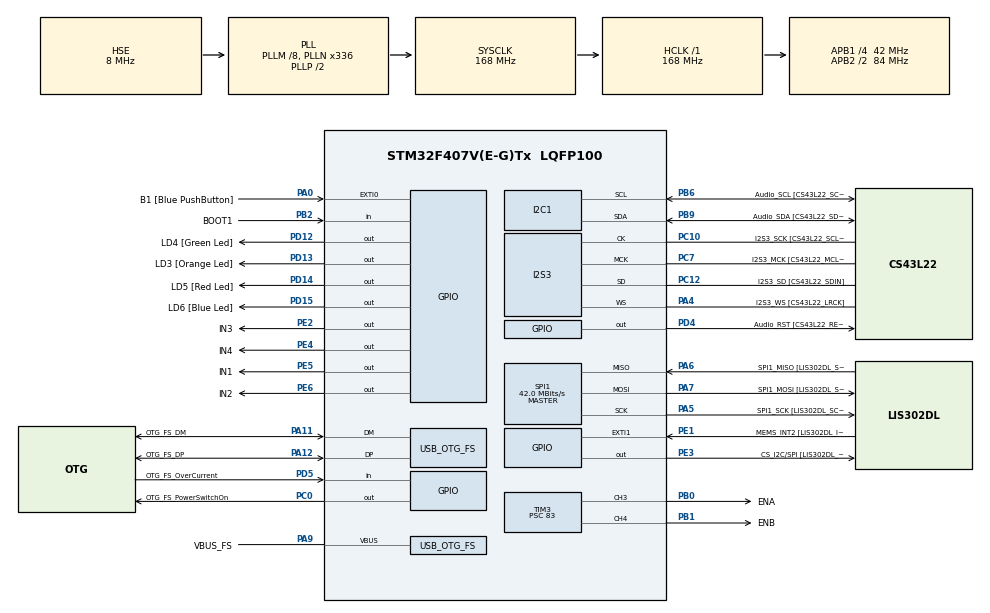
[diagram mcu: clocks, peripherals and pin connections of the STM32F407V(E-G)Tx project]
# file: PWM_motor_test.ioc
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I2S3.AudioFreq-Half_Duplex_Master=I2S_AUDIOFREQ_96K
I2S3.ErrorAudioFreq=-2.34 %
I2S3.ErrorAudioFreq-Half_Duplex_Master=0.8 %
I2S3.FullDuplexMode=I2S_FULLDUPLEXMODE_DISABLE
I2S3.Instance=SPI$Index
I2S3.RealAudioFreq=93.75 KHz
I2S3.RealAudioFreq-Half_Duplex_Master=96.774 KHz
I2S3.VirtualMode=I2S_MODE_MASTER
Mcu.Family=STM32F4
Mcu.Name=STM32F407V(E-G)Tx
Mcu.Package=LQFP100
NVIC.OTG_FS_IRQn=true\:0\:0\:false\:false\:true\:true\:true\:true
NVIC.PriorityGroup=NVIC_PRIORITYGROUP_0
PA0-WKUP.GPIO_Label=B1 [Blue PushButton]
PA0-WKUP.GPIO_ModeDefaultEXTI=GPIO_MODE_EVT_RISING
PA0-WKUP.GPIO_PuPd=GPIO_NOPULL
PA0-WKUP.Signal=GPXTI0
PA10.GPIO_Label=OTG_FS_ID
PA10.GPIO_Mode=GPIO_MODE_AF_PP
PA10.GPIO_PuPd=GPIO_NOPULL
PA10.GPIO_Speed=GPIO_SPEED_FREQ_LOW
PA10.Signal=USB_OTG_FS_ID
PA11.GPIO_Label=OTG_FS_DM
PA11.GPIO_Mode=GPIO_MODE_AF_PP
PA11.GPIO_PuPd=GPIO_NOPULL
PA11.GPIO_Speed=GPIO_SPEED_FREQ_LOW
PA11.Mode=Host_Only
PA11.Signal=USB_OTG_FS_DM
PA12.GPIO_Label=OTG_FS_DP
PA12.GPIO_Mode=GPIO_MODE_AF_PP
PA12.GPIO_PuPd=GPIO_NOPULL
PA12.GPIO_Speed=GPIO_SPEED_FREQ_LOW
PA12.Mode=Host_Only
PA12.Signal=USB_OTG_FS_DP
PA13.GPIO_Label=SWDIO
PA13.Mode=Serial_Wire
PA13.Signal=SYS_JTMS-SWDIO
PA14.GPIO_Label=SWCLK
PA14.Mode=Serial_Wire
PA14.Signal=SYS_JTCK-SWCLK
PA4.GPIO_Label=I2S3_WS [CS43L22_LRCK]
PA4.GPIO_Mode=GPIO_MODE_AF_PP
PA4.GPIO_PuPd=GPIO_NOPULL
PA4.GPIO_Speed=GPIO_SPEED_FREQ_LOW
PA4.Mode=Half_Duplex_Master
PA4.Signal=I2S3_WS
PA5.GPIO_Label=SPI1_SCK [LIS302DL_SCL/SPC]
PA5.GPIO_Mode=GPIO_MODE_AF_PP
PA5.GPIO_PuPd=GPIO_NOPULL
PA5.GPIO_Speed=GPIO_SPEED_FREQ_LOW
PA5.Mode=Full_Duplex_Master
PA5.Signal=SPI1_SCK
PA6.GPIO_Label=SPI1_MISO [LIS302DL_SDO]
PA6.GPIO_Mode=GPIO_MODE_AF_PP
PA6.GPIO_PuPd=GPIO_NOPULL
PA6.GPIO_Speed=GPIO_SPEED_FREQ_LOW
PA6.Mode=Full_Duplex_Master
PA6.Signal=SPI1_MISO
PA7.GPIO_Label=SPI1_MOSI [LIS302DL_SDA/SDI/SDO]
PA7.GPIO_Mode=GPIO_MODE_AF_PP
PA7.GPIO_PuPd=GPIO_NOPULL
PA7.GPIO_Speed=GPIO_SPEED_FREQ_LOW
PA7.Mode=Full_Duplex_Master
PA7.Signal=SPI1_MOSI
PA9.GPIO_Label=VBUS_FS
PA9.GPIO_Mode=GPIO_MODE_INPUT
PA9.GPIO_PuPd=GPIO_NOPULL
PA9.Mode=Activate_VBUS
PA9.Signal=USB_OTG_FS_VBUS
PB0.GPIO_Label=ENA
PB0.Signal=S_TIM3_CH3
PB1.GPIO_Label=ENB
PB1.Signal=S_TIM3_CH4
PB10.GPIO_Label=CLK_IN [MP45DT02_CLK]
PB10.GPIO_Mode=GPIO_MODE_AF_PP
PB10.GPIO_PuPd=GPIO_NOPULL
PB10.GPIO_Speed=GPIO_SPEED_FREQ_LOW
PB10.Signal=I2S2_CK
PB2.GPIO_Label=BOOT1
PB2.GPIO_Mode=GPIO_MODE_INPUT
PB2.GPIO_PuPd=GPIO_NOPULL
PB2.Signal=GPIO_Input
PB3.GPIO_Label=SWO
PB3.Signal=SYS_JTDO-SWO
PB6.GPIO_Label=Audio_SCL [CS43L22_SCL]
PB6.GPIO_Mode=GPIO_MODE_AF_OD
PB6.GPIO_Pu=GPIO_PULLUP
PB6.GPIO_PuPd=GPIO_NOPULL
PB6.GPIO_Speed=GPIO_SPEED_FREQ_LOW
PB6.Mode=I2C
PB6.Signal=I2C1_SCL
PB9.GPIO_Label=Audio_SDA [CS43L22_SDA]
PB9.GPIO_Mode=GPIO_MODE_AF_OD
PB9.GPIO_Pu=GPIO_PULLUP
PB9.GPIO_PuPd=GPIO_NOPULL
PB9.GPIO_Speed=GPIO_SPEED_FREQ_LOW
PB9.Mode=I2C
PB9.Signal=I2C1_SDA
PC0.GPIO_Label=OTG_FS_PowerSwitchOn
PC0.GPIO_PuPd=GPIO_NOPULL
PC0.GPIO_Speed=GPIO_SPEED_FREQ_LOW
PC0.PinState=GPIO_PIN_SET
PC0.Signal=GPIO_Output
PC10.GPIO_Label=I2S3_SCK [CS43L22_SCLK]
PC10.GPIO_Mode=GPIO_MODE_AF_PP
PC10.GPIO_PuPd=GPIO_NOPULL
PC10.GPIO_Speed=GPIO_SPEED_FREQ_LOW
PC10.Mode=Half_Duplex_Master
PC10.Signal=I2S3_CK
PC12.GPIO_Label=I2S3_SD [CS43L22_SDIN]
PC12.GPIO_Mode=GPIO_MODE_AF_PP
PC12.GPIO_PuPd=GPIO_NOPULL
PC12.GPIO_Speed=GPIO_SPEED_FREQ_LOW
PC12.Mode=Half_Duplex_Master
PC12.Signal=I2S3_SD
PC14-OSC32_IN.GPIO_Label=PC14-OSC32_IN
PC14-OSC32_IN.Mode=LSE-External-Oscillator
PC14-OSC32_IN.Signal=RCC_OSC32_IN
PC15-OSC32_OUT.GPIO_Label=PC15-OSC32_OUT
PC15-OSC32_OUT.Mode=LSE-External-Oscillator
PC15-OSC32_OUT.Signal=RCC_OSC32_OUT
PC3.GPIO_Label=PDM_OUT [MP45DT02_DOUT]
PC3.GPIO_Mode=GPIO_MODE_AF_PP
PC3.GPIO_PuPd=GPIO_NOPULL
PC3.GPIO_Speed=GPIO_SPEED_FREQ_LOW
PC3.Signal=I2S2_SD
PC7.GPIO_Label=I2S3_MCK [CS43L22_MCLK]
PC7.GPIO_Mode=GPIO_MODE_AF_PP
PC7.GPIO_PuPd=GPIO_NOPULL
PC7.GPIO_Speed=GPIO_SPEED_FREQ_LOW
PC7.Mode=Master_Clock_Activated
PC7.Signal=I2S3_MCK
PD12.GPIO_Label=LD4 [Green Led]
PD12.GPIO_PuPd=GPIO_NOPULL
PD12.GPIO_Speed=GPIO_SPEED_FREQ_LOW
PD12.Signal=GPIO_Output
PD13.GPIO_Label=LD3 [Orange Led]
PD13.GPIO_PuPd=GPIO_NOPULL
PD13.GPIO_Speed=GPIO_SPEED_FREQ_LOW
PD13.Signal=GPIO_Output
PD14.GPIO_Label=LD5 [Red Led]
PD14.GPIO_PuPd=GPIO_NOPULL
PD14.GPIO_Speed=GPIO_SPEED_FREQ_LOW
PD14.Signal=GPIO_Output
PD15.GPIO_Label=LD6 [Blue Led]
PD15.GPIO_PuPd=GPIO_NOPULL
PD15.GPIO_Speed=GPIO_SPEED_FREQ_LOW
PD15.Signal=GPIO_Output
PD4.GPIO_Label=Audio_RST [CS43L22_RESET]
PD4.GPIO_PuPd=GPIO_NOPULL
PD4.GPIO_Speed=GPIO_SPEED_FREQ_LOW
PD4.Signal=GPIO_Output
PD5.GPIO_Label=OTG_FS_OverCurrent
PD5.GPIO_Mode=GPIO_MODE_INPUT
PD5.GPIO_PuPd=GPIO_NOPULL
PD5.Signal=GPIO_Input
PE1.GPIO_Label=MEMS_INT2 [LIS302DL_INT2]
PE1.GPIO_ModeDefaultEXTI=GPIO_MODE_EVT_RISING
PE1.GPIO_PuPd=GPIO_NOPULL
PE1.Signal=GPXTI1
PE2.GPIO_Label=IN3
PE2.Signal=GPIO_Output
PE3.GPIO_Label=CS_I2C/SPI [LIS302DL_CS_I2C/SPI]
PE3.GPIO_PuPd=GPIO_NOPULL
PE3.GPIO_Speed=GPIO_SPEED_FREQ_LOW
PE3.Signal=GPIO_Output
PE4.GPIO_Label=IN4
PE4.Signal=GPIO_Output
PE5.GPIO_Label=IN1
PE5.Signal=GPIO_Output
PE6.GPIO_Label=IN2
PE6.Signal=GPIO_Output
PH0-OSC_IN.GPIO_Label=PH0-OSC_IN
PH0-OSC_IN.Mode=HSE-External-Oscillator
PH0-OSC_IN.Signal=RCC_OSC_IN
PH1-OSC_OUT.GPIO_Label=PH1-OSC_OUT
PH1-OSC_OUT.Mode=HSE-External-Oscillator
PH1-OSC_OUT.Signal=RCC_OSC_OUT
ProjectManager.HeapSize=0x200
ProjectManager.StackSize=0x400
ProjectManager.TargetToolchain=CMake
RCC.48MHZClocksFreq_Value=48000000
RCC.AHBFreq_Value=168000000
RCC.APB1CLKDivider=RCC_HCLK_DIV4
RCC.APB1Freq_Value=42000000
RCC.APB1TimFreq_Value=84000000
RCC.APB2CLKDivider=RCC_HCLK_DIV2
RCC.APB2Freq_Value=84000000
RCC.APB2TimFreq_Value=168000000
RCC.CortexFreq_Value=168000000
RCC.HCLKFreq_Value=168000000
RCC.HSE_VALUE=8000000
RCC.HSI_VALUE=16000000
RCC.PLLM=8
RCC.PLLN=336
RCC.PLLQ=7
RCC.SYSCLKFreq_VALUE=168000000
RCC.SYSCLKSource=RCC_SYSCLKSOURCE_PLLCLK
RCC.VCOOutputFreq_Value=336000000
SH.S_TIM3_CH3.0=TIM3_CH3,PWM Generation3 CH3
SH.S_TIM3_CH4.0=TIM3_CH4,PWM Generation4 CH4
SPI1.BaudRatePrescaler-Full_Duplex_Master=SPI_BAUDRATEPRESCALER_2
SPI1.CalculateBaudRate=42.0 MBits/s
SPI1.CalculateBaudRate-Full_Duplex_Master=42.0 MBits/s
SPI1.Direction=SPI_DIRECTION_2LINES
SPI1.Mode=SPI_MODE_MASTER
SPI1.Mode-Full_Duplex_Master=SPI_MODE_MASTER
SPI1.VirtualType=VM_MASTER
TIM3.Channel-PWM\ Generation3\ CH3=TIM_CHANNEL_3
TIM3.Channel-PWM\ Generation4\ CH4=TIM_CHANNEL_4
TIM3.Period=499
TIM3.Prescaler=83
USB_HOST.BSP.number=1
USB_HOST.USBH_HandleTypeDef-CDC_FS=hUsbHostFS
USB_HOST.VirtualModeFS=Cdc
USB_HOST0.BSP.STBoard=false
USB_HOST0.BSP.api=Unknown
USB_HOST0.BSP.instance=PC0
USB_HOST0.BSP.ip=GPIO
USB_HOST0.BSP.mode=Output
USB_HOST0.BSP.name=Drive_VBUS_FS
USB_HOST0.BSP.solution=PC0
USB_OTG_FS.VirtualMode=Host_Only
USB_OTG_FS.phy_itface=HCD_PHY_EMBEDDED
VP_USB_HOST_VS_USB_HOST_CDC_FS.Mode=CDC_FS
board=STM32F407G-DISC1

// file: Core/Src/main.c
/* USER CODE BEGIN Header */
/**
  ******************************************************************************
  * @file           : main.c
  * @brief          : Main program body
  ******************************************************************************
  * @attention
  *
  * Copyright (c) 2026 STMicroelectronics.
  * All rights reserved.
  *
  * This software is licensed under terms that can be found in the LICENSE file
  * in the root directory of this software component.
  * If no LICENSE file comes with this software, it is provided AS-IS.
  *
  ******************************************************************************
  */
/* USER CODE END Header */
#include "main.h"
#include "usb_host.h"

/* USER CODE BEGIN Includes */
#include "../Inc/pwm_motors.h"
/* USER CODE END Includes */

I2C_HandleTypeDef hi2c1;

I2S_HandleTypeDef hi2s3;

SPI_HandleTypeDef hspi1;

TIM_HandleTypeDef htim3;

void SystemClock_Config(void);
static void MX_GPIO_Init(void);
static void MX_I2C1_Init(void);
static void MX_I2S3_Init(void);
static void MX_SPI1_Init(void);
static void MX_TIM3_Init(void);
void MX_USB_HOST_Process(void);

int main(void)
{

  /* MCU Configuration--------------------------------------------------------*/

  /* Reset of all peripherals, Initializes the Flash interface and the Systick. */
  HAL_Init();

  /* Configure the system clock */
  SystemClock_Config();

  /* Initialize all configured peripherals */
  MX_GPIO_Init();
  MX_I2C1_Init();
  MX_I2S3_Init();
  MX_SPI1_Init();
  MX_TIM3_Init();
  MX_USB_HOST_Init();
  /* USER CODE BEGIN 2 */
  Motor_Init(&htim3);
  /* USER CODE END 2 */

  /* Infinite loop */
  while (1)
  {
    MX_USB_HOST_Process();

    /* USER CODE BEGIN 3 */
    Motor_ChangeDirection(FORWARD_DIR);
    HAL_GPIO_WritePin(LD4_GPIO_Port, LD4_Pin, 0);
    HAL_GPIO_WritePin(LD6_GPIO_Port, LD6_Pin, 1);
    for (int i = 0; i <= PWM_MAX; i++) {
      Motor_SetSpeed(LEFT_MOTOR,i);
      Motor_SetSpeed(RIGHT_MOTOR,i);

      HAL_Delay(10);
    }

    Motor_ChangeDirection(LEFT_DIR);
    HAL_GPIO_WritePin(LD4_GPIO_Port, LD4_Pin, 1);
    HAL_GPIO_WritePin(LD6_GPIO_Port, LD6_Pin, 0);
    for (int i = 0; i <= PWM_MAX; i++) {
      Motor_SetSpeed(LEFT_MOTOR,i);
      Motor_SetSpeed(RIGHT_MOTOR,i);
      HAL_Delay(10);
    }

  }
  /* USER CODE END 3 */
}

void SystemClock_Config(void)
{
  RCC_OscInitTypeDef RCC_OscInitStruct = {0};
  RCC_ClkInitTypeDef RCC_ClkInitStruct = {0};

  /** Configure the main internal regulator output voltage
  */
  __HAL_RCC_PWR_CLK_ENABLE();
  __HAL_PWR_VOLTAGESCALING_CONFIG(PWR_REGULATOR_VOLTAGE_SCALE1);

  /** Initializes the RCC Oscillators according to the specified parameters
  * in the RCC_OscInitTypeDef structure.
  */
  RCC_OscInitStruct.OscillatorType = RCC_OSCILLATORTYPE_HSE;
  RCC_OscInitStruct.HSEState = RCC_HSE_ON;
  RCC_OscInitStruct.PLL.PLLState = RCC_PLL_ON;
  RCC_OscInitStruct.PLL.PLLSource = RCC_PLLSOURCE_HSE;
  RCC_OscInitStruct.PLL.PLLM = 8;
  RCC_OscInitStruct.PLL.PLLN = 336;
  RCC_OscInitStruct.PLL.PLLP = RCC_PLLP_DIV2;
  RCC_OscInitStruct.PLL.PLLQ = 7;
  if (HAL_RCC_OscConfig(&RCC_OscInitStruct) != HAL_OK)
  {
    Error_Handler();
  }

  /** Initializes the CPU, AHB and APB buses clocks
  */
  RCC_ClkInitStruct.ClockType = RCC_CLOCKTYPE_HCLK|RCC_CLOCKTYPE_SYSCLK
                              |RCC_CLOCKTYPE_PCLK1|RCC_CLOCKTYPE_PCLK2;
  RCC_ClkInitStruct.SYSCLKSource = RCC_SYSCLKSOURCE_PLLCLK;
  RCC_ClkInitStruct.AHBCLKDivider = RCC_SYSCLK_DIV1;
  RCC_ClkInitStruct.APB1CLKDivider = RCC_HCLK_DIV4;
  RCC_ClkInitStruct.APB2CLKDivider = RCC_HCLK_DIV2;

  if (HAL_RCC_ClockConfig(&RCC_ClkInitStruct, FLASH_LATENCY_5) != HAL_OK)
  {
    Error_Handler();
  }
}

static void MX_I2C1_Init(void)
{

  hi2c1.Instance = I2C1;
  hi2c1.Init.ClockSpeed = 100000;
  hi2c1.Init.DutyCycle = I2C_DUTYCYCLE_2;
  hi2c1.Init.OwnAddress1 = 0;
  hi2c1.Init.AddressingMode = I2C_ADDRESSINGMODE_7BIT;
  hi2c1.Init.DualAddressMode = I2C_DUALADDRESS_DISABLE;
  hi2c1.Init.OwnAddress2 = 0;
  hi2c1.Init.GeneralCallMode = I2C_GENERALCALL_DISABLE;
  hi2c1.Init.NoStretchMode = I2C_NOSTRETCH_DISABLE;
  if (HAL_I2C_Init(&hi2c1) != HAL_OK)
  {
    Error_Handler();
  }

}

static void MX_I2S3_Init(void)
{

  hi2s3.Instance = SPI3;
  hi2s3.Init.Mode = I2S_MODE_MASTER_TX;
  hi2s3.Init.Standard = I2S_STANDARD_PHILIPS;
  hi2s3.Init.DataFormat = I2S_DATAFORMAT_16B;
  hi2s3.Init.MCLKOutput = I2S_MCLKOUTPUT_ENABLE;
  hi2s3.Init.AudioFreq = I2S_AUDIOFREQ_96K;
  hi2s3.Init.CPOL = I2S_CPOL_LOW;
  hi2s3.Init.ClockSource = I2S_CLOCK_PLL;
  hi2s3.Init.FullDuplexMode = I2S_FULLDUPLEXMODE_DISABLE;
  if (HAL_I2S_Init(&hi2s3) != HAL_OK)
  {
    Error_Handler();
  }

}

static void MX_SPI1_Init(void)
{

  /* SPI1 parameter configuration*/
  hspi1.Instance = SPI1;
  hspi1.Init.Mode = SPI_MODE_MASTER;
  hspi1.Init.Direction = SPI_DIRECTION_2LINES;
  hspi1.Init.DataSize = SPI_DATASIZE_8BIT;
  hspi1.Init.CLKPolarity = SPI_POLARITY_LOW;
  hspi1.Init.CLKPhase = SPI_PHASE_1EDGE;
  hspi1.Init.NSS = SPI_NSS_SOFT;
  hspi1.Init.BaudRatePrescaler = SPI_BAUDRATEPRESCALER_2;
  hspi1.Init.FirstBit = SPI_FIRSTBIT_MSB;
  hspi1.Init.TIMode = SPI_TIMODE_DISABLE;
  hspi1.Init.CRCCalculation = SPI_CRCCALCULATION_DISABLE;
  hspi1.Init.CRCPolynomial = 10;
  if (HAL_SPI_Init(&hspi1) != HAL_OK)
  {
    Error_Handler();
  }

}

static void MX_TIM3_Init(void)
{

  TIM_MasterConfigTypeDef sMasterConfig = {0};
  TIM_OC_InitTypeDef sConfigOC = {0};

  htim3.Instance = TIM3;
  htim3.Init.Prescaler = 83;
  htim3.Init.CounterMode = TIM_COUNTERMODE_UP;
  htim3.Init.Period = 499;
  htim3.Init.ClockDivision = TIM_CLOCKDIVISION_DIV1;
  htim3.Init.AutoReloadPreload = TIM_AUTORELOAD_PRELOAD_DISABLE;
  if (HAL_TIM_PWM_Init(&htim3) != HAL_OK)
  {
    Error_Handler();
  }
  sMasterConfig.MasterOutputTrigger = TIM_TRGO_RESET;
  sMasterConfig.MasterSlaveMode = TIM_MASTERSLAVEMODE_DISABLE;
  if (HAL_TIMEx_MasterConfigSynchronization(&htim3, &sMasterConfig) != HAL_OK)
  {
    Error_Handler();
  }
  sConfigOC.OCMode = TIM_OCMODE_PWM1;
  sConfigOC.Pulse = 0;
  sConfigOC.OCPolarity = TIM_OCPOLARITY_HIGH;
  sConfigOC.OCFastMode = TIM_OCFAST_DISABLE;
  if (HAL_TIM_PWM_ConfigChannel(&htim3, &sConfigOC, TIM_CHANNEL_3) != HAL_OK)
  {
    Error_Handler();
  }
  if (HAL_TIM_PWM_ConfigChannel(&htim3, &sConfigOC, TIM_CHANNEL_4) != HAL_OK)
  {
    Error_Handler();
  }
  HAL_TIM_MspPostInit(&htim3);

}

static void MX_GPIO_Init(void)
{
  GPIO_InitTypeDef GPIO_InitStruct = {0};

  /* GPIO Ports Clock Enable */
  __HAL_RCC_GPIOE_CLK_ENABLE();
  __HAL_RCC_GPIOC_CLK_ENABLE();
  __HAL_RCC_GPIOH_CLK_ENABLE();
  __HAL_RCC_GPIOA_CLK_ENABLE();
  __HAL_RCC_GPIOB_CLK_ENABLE();
  __HAL_RCC_GPIOD_CLK_ENABLE();

  /*Configure GPIO pin Output Level */
  HAL_GPIO_WritePin(GPIOE, IN3_Pin|CS_I2C_SPI_Pin|IN4_Pin|IN1_Pin
                          |IN2_Pin, GPIO_PIN_RESET);

  /*Configure GPIO pin Output Level */
  HAL_GPIO_WritePin(OTG_FS_PowerSwitchOn_GPIO_Port, OTG_FS_PowerSwitchOn_Pin, GPIO_PIN_SET);

  /*Configure GPIO pin Output Level */
  HAL_GPIO_WritePin(GPIOD, LD4_Pin|LD3_Pin|LD5_Pin|LD6_Pin
                          |Audio_RST_Pin, GPIO_PIN_RESET);

  /*Configure GPIO pins : IN3_Pin CS_I2C_SPI_Pin IN4_Pin IN1_Pin
                           IN2_Pin */
  GPIO_InitStruct.Pin = IN3_Pin|CS_I2C_SPI_Pin|IN4_Pin|IN1_Pin
                          |IN2_Pin;
  GPIO_InitStruct.Mode = GPIO_MODE_OUTPUT_PP;
  GPIO_InitStruct.Pull = GPIO_NOPULL;
  GPIO_InitStruct.Speed = GPIO_SPEED_FREQ_LOW;
  HAL_GPIO_Init(GPIOE, &GPIO_InitStruct);

  /*Configure GPIO pin : OTG_FS_PowerSwitchOn_Pin */
  GPIO_InitStruct.Pin = OTG_FS_PowerSwitchOn_Pin;
  GPIO_InitStruct.Mode = GPIO_MODE_OUTPUT_PP;
  GPIO_InitStruct.Pull = GPIO_NOPULL;
  GPIO_InitStruct.Speed = GPIO_SPEED_FREQ_LOW;
  HAL_GPIO_Init(OTG_FS_PowerSwitchOn_GPIO_Port, &GPIO_InitStruct);

  /*Configure GPIO pin : PDM_OUT_Pin */
  GPIO_InitStruct.Pin = PDM_OUT_Pin;
  GPIO_InitStruct.Mode = GPIO_MODE_AF_PP;
  GPIO_InitStruct.Pull = GPIO_NOPULL;
  GPIO_InitStruct.Speed = GPIO_SPEED_FREQ_LOW;
  GPIO_InitStruct.Alternate = GPIO_AF5_SPI2;
  HAL_GPIO_Init(PDM_OUT_GPIO_Port, &GPIO_InitStruct);

  /*Configure GPIO pin : B1_Pin */
  GPIO_InitStruct.Pin = B1_Pin;
  GPIO_InitStruct.Mode = GPIO_MODE_EVT_RISING;
  GPIO_InitStruct.Pull = GPIO_NOPULL;
  HAL_GPIO_Init(B1_GPIO_Port, &GPIO_InitStruct);

  /*Configure GPIO pin : BOOT1_Pin */
  GPIO_InitStruct.Pin = BOOT1_Pin;
  GPIO_InitStruct.Mode = GPIO_MODE_INPUT;
  GPIO_InitStruct.Pull = GPIO_NOPULL;
  HAL_GPIO_Init(BOOT1_GPIO_Port, &GPIO_InitStruct);

  /*Configure GPIO pin : CLK_IN_Pin */
  GPIO_InitStruct.Pin = CLK_IN_Pin;
  GPIO_InitStruct.Mode = GPIO_MODE_AF_PP;
  GPIO_InitStruct.Pull = GPIO_NOPULL;
  GPIO_InitStruct.Speed = GPIO_SPEED_FREQ_LOW;
  GPIO_InitStruct.Alternate = GPIO_AF5_SPI2;
  HAL_GPIO_Init(CLK_IN_GPIO_Port, &GPIO_InitStruct);

  /*Configure GPIO pins : LD4_Pin LD3_Pin LD5_Pin LD6_Pin
                           Audio_RST_Pin */
  GPIO_InitStruct.Pin = LD4_Pin|LD3_Pin|LD5_Pin|LD6_Pin
                          |Audio_RST_Pin;
  GPIO_InitStruct.Mode = GPIO_MODE_OUTPUT_PP;
  GPIO_InitStruct.Pull = GPIO_NOPULL;
  GPIO_InitStruct.Speed = GPIO_SPEED_FREQ_LOW;
  HAL_GPIO_Init(GPIOD, &GPIO_InitStruct);

  /*Configure GPIO pin : OTG_FS_OverCurrent_Pin */
  GPIO_InitStruct.Pin = OTG_FS_OverCurrent_Pin;
  GPIO_InitStruct.Mode = GPIO_MODE_INPUT;
  GPIO_InitStruct.Pull = GPIO_NOPULL;
  HAL_GPIO_Init(OTG_FS_OverCurrent_GPIO_Port, &GPIO_InitStruct);

  /*Configure GPIO pin : MEMS_INT2_Pin */
  GPIO_InitStruct.Pin = MEMS_INT2_Pin;
  GPIO_InitStruct.Mode = GPIO_MODE_EVT_RISING;
  GPIO_InitStruct.Pull = GPIO_NOPULL;
  HAL_GPIO_Init(MEMS_INT2_GPIO_Port, &GPIO_InitStruct);

}

void Error_Handler(void)
{
  __disable_irq();
  while (1)
  {
  }
}
